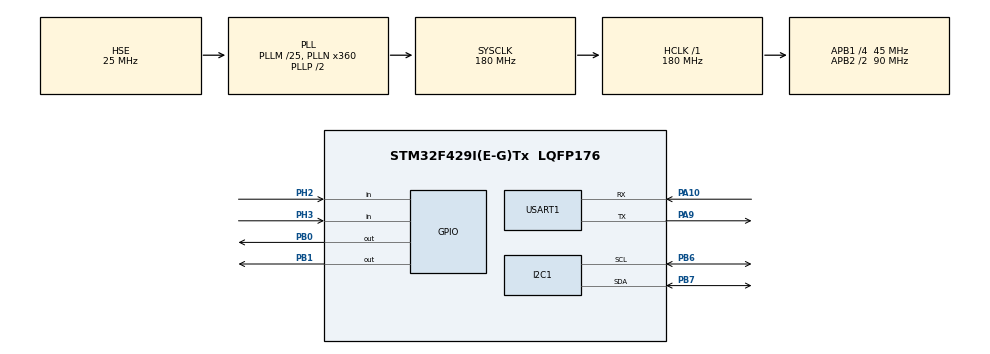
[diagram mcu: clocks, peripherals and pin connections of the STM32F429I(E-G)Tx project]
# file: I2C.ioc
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I2C1.OwnAddress=0x020
Mcu.Family=STM32F4
Mcu.Name=STM32F429I(E-G)Tx
Mcu.Package=LQFP176
NVIC.I2C1_ER_IRQn=true\:0\:0\:false\:false\:true\:true\:true
NVIC.I2C1_EV_IRQn=true\:0\:0\:false\:false\:true\:true\:true
NVIC.PriorityGroup=NVIC_PRIORITYGROUP_4
NVIC.USART1_IRQn=true\:0\:0\:false\:false\:true\:true\:true
PA10.Mode=Asynchronous
PA10.Signal=USART1_RX
PA9.Mode=Asynchronous
PA9.Signal=USART1_TX
PB0.GPIO_PuPd=GPIO_PULLUP
PB0.Signal=GPIO_Output
PB1.GPIO_PuPd=GPIO_PULLUP
PB1.Signal=GPIO_Output
PB6.Mode=I2C
PB6.Signal=I2C1_SCL
PB7.Mode=I2C
PB7.Signal=I2C1_SDA
PC14/OSC32_IN.Mode=LSE-External-Oscillator
PC14/OSC32_IN.Signal=RCC_OSC32_IN
PC15/OSC32_OUT.Mode=LSE-External-Oscillator
PC15/OSC32_OUT.Signal=RCC_OSC32_OUT
PH0/OSC_IN.Mode=HSE-External-Oscillator
PH0/OSC_IN.Signal=RCC_OSC_IN
PH1/OSC_OUT.Mode=HSE-External-Oscillator
PH1/OSC_OUT.Signal=RCC_OSC_OUT
PH2.GPIO_PuPd=GPIO_PULLUP
PH2.Signal=GPIO_Input
PH3.GPIO_PuPd=GPIO_PULLUP
PH3.Signal=GPIO_Input
ProjectManager.HeapSize=0x200
ProjectManager.StackSize=0x400
ProjectManager.TargetToolchain=MDK-ARM V5
RCC.48MHZClocksFreq_Value=90000000
RCC.AHBFreq_Value=180000000
RCC.APB1CLKDivider=RCC_HCLK_DIV4
RCC.APB1Freq_Value=45000000
RCC.APB1TimFreq_Value=90000000
RCC.APB2CLKDivider=RCC_HCLK_DIV2
RCC.APB2Freq_Value=90000000
RCC.APB2TimFreq_Value=180000000
RCC.CortexFreq_Value=180000000
RCC.HCLKFreq_Value=180000000
RCC.HSE_VALUE=25000000
RCC.HSI_VALUE=16000000
RCC.PLLM=25
RCC.PLLN=360
RCC.PLLSourceVirtual=RCC_PLLSOURCE_HSE
RCC.SYSCLKFreq_VALUE=180000000
RCC.SYSCLKSource=RCC_SYSCLKSOURCE_PLLCLK
RCC.VCOOutputFreq_Value=360000000
USART1.VirtualMode=VM_ASYNC
board=custom

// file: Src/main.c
/* USER CODE BEGIN Header */
/**
  ******************************************************************************
  * @file           : main.c
  * @brief          : Main program body
  ******************************************************************************
  * @attention
  *
  * <h2><center>&copy; Copyright (c) 2019 STMicroelectronics.
  * All rights reserved.</center></h2>
  *
  * This software component is licensed by ST under BSD 3-Clause license,
  * the "License"; You may not use this file except in compliance with the
  * License. You may obtain a copy of the License at:
  *                        opensource.org/licenses/BSD-3-Clause
  *
  ******************************************************************************
  */
/* USER CODE END Header */

#include "main.h"

/* USER CODE BEGIN Includes */
#define KEY0 1
#define KEY1 2
/* USER CODE END Includes */

I2C_HandleTypeDef hi2c1;

UART_HandleTypeDef huart1;

void SystemClock_Config(void);
static void MX_GPIO_Init(void);
static void MX_I2C1_Init(void);
static void MX_USART1_UART_Init(void);

/* USER CODE BEGIN 0 */
uint8_t scanKey()
{
	if(HAL_GPIO_ReadPin(GPIOH, GPIO_PIN_3) == 0)

		{
			return KEY0;

		}
		else if(HAL_GPIO_ReadPin(GPIOH, GPIO_PIN_2) == 0)
		{
			return KEY1;
		}
		else
		{
			return 0;
		}
}

/* USER CODE END 0 */

int main(void)
{

  /* MCU Configuration--------------------------------------------------------*/

  /* Reset of all peripherals, Initializes the Flash interface and the Systick. */
  HAL_Init();

  /* Configure the system clock */
  SystemClock_Config();

  /* Initialize all configured peripherals */
  MX_GPIO_Init();
  MX_I2C1_Init();
  MX_USART1_UART_Init();
  /* USER CODE BEGIN 2 */
	HAL_GPIO_WritePin(GPIOB, GPIO_PIN_1, GPIO_PIN_SET);
	HAL_GPIO_WritePin(GPIOB, GPIO_PIN_0, GPIO_PIN_SET);
  /* USER CODE END 2 */

  /* Infinite loop */
  while (1)
  {

    /* USER CODE BEGIN 3 */
		uint8_t data;

		uint8_t pKey = scanKey();
		switch(pKey)
		{
			case KEY0:
				data = 0xE3;
				break;
			case KEY1:
				data = 0xE5;
				break;
			default:
				continue;
		}

		if(HAL_I2C_Master_Transmit(&hi2c1, (uint16_t)(0x40<<1), &data, 1, 10000) != HAL_OK)
		{
			HAL_GPIO_WritePin(GPIOB, GPIO_PIN_1, GPIO_PIN_RESET);
			continue;
		}

		uint8_t recData[3] = {0, 0, 0};
		if(HAL_I2C_Master_Receive(&hi2c1, (uint16_t)(0x40<<1), recData, 3, 1000) != HAL_OK)
		{
			HAL_GPIO_WritePin(GPIOB, GPIO_PIN_1, GPIO_PIN_RESET);
			continue;
		}

		if(HAL_UART_Transmit(&huart1, recData, 3, 1000) != HAL_OK)
		{
			HAL_GPIO_WritePin(GPIOB, GPIO_PIN_1, GPIO_PIN_RESET);
			continue;
		}

		HAL_GPIO_TogglePin(GPIOB, GPIO_PIN_0);
		HAL_Delay(1000);
  }
  /* USER CODE END 3 */
}

void SystemClock_Config(void)
{
  RCC_OscInitTypeDef RCC_OscInitStruct = {0};
  RCC_ClkInitTypeDef RCC_ClkInitStruct = {0};

  /** Configure the main internal regulator output voltage
  */
  __HAL_RCC_PWR_CLK_ENABLE();
  __HAL_PWR_VOLTAGESCALING_CONFIG(PWR_REGULATOR_VOLTAGE_SCALE1);
  /** Initializes the CPU, AHB and APB busses clocks
  */
  RCC_OscInitStruct.OscillatorType = RCC_OSCILLATORTYPE_HSE;
  RCC_OscInitStruct.HSEState = RCC_HSE_ON;
  RCC_OscInitStruct.PLL.PLLState = RCC_PLL_ON;
  RCC_OscInitStruct.PLL.PLLSource = RCC_PLLSOURCE_HSE;
  RCC_OscInitStruct.PLL.PLLM = 25;
  RCC_OscInitStruct.PLL.PLLN = 360;
  RCC_OscInitStruct.PLL.PLLP = RCC_PLLP_DIV2;
  RCC_OscInitStruct.PLL.PLLQ = 4;
  if (HAL_RCC_OscConfig(&RCC_OscInitStruct) != HAL_OK)
  {
    Error_Handler();
  }
  /** Activate the Over-Drive mode
  */
  if (HAL_PWREx_EnableOverDrive() != HAL_OK)
  {
    Error_Handler();
  }
  /** Initializes the CPU, AHB and APB busses clocks
  */
  RCC_ClkInitStruct.ClockType = RCC_CLOCKTYPE_HCLK|RCC_CLOCKTYPE_SYSCLK
                              |RCC_CLOCKTYPE_PCLK1|RCC_CLOCKTYPE_PCLK2;
  RCC_ClkInitStruct.SYSCLKSource = RCC_SYSCLKSOURCE_PLLCLK;
  RCC_ClkInitStruct.AHBCLKDivider = RCC_SYSCLK_DIV1;
  RCC_ClkInitStruct.APB1CLKDivider = RCC_HCLK_DIV4;
  RCC_ClkInitStruct.APB2CLKDivider = RCC_HCLK_DIV2;

  if (HAL_RCC_ClockConfig(&RCC_ClkInitStruct, FLASH_LATENCY_5) != HAL_OK)
  {
    Error_Handler();
  }
}

static void MX_I2C1_Init(void)
{

  hi2c1.Instance = I2C1;
  hi2c1.Init.ClockSpeed = 100000;
  hi2c1.Init.DutyCycle = I2C_DUTYCYCLE_2;
  hi2c1.Init.OwnAddress1 = 64;
  hi2c1.Init.AddressingMode = I2C_ADDRESSINGMODE_7BIT;
  hi2c1.Init.DualAddressMode = I2C_DUALADDRESS_DISABLE;
  hi2c1.Init.OwnAddress2 = 0;
  hi2c1.Init.GeneralCallMode = I2C_GENERALCALL_DISABLE;
  hi2c1.Init.NoStretchMode = I2C_NOSTRETCH_DISABLE;
  if (HAL_I2C_Init(&hi2c1) != HAL_OK)
  {
    Error_Handler();
  }
  /** Configure Analogue filter
  */
  if (HAL_I2CEx_ConfigAnalogFilter(&hi2c1, I2C_ANALOGFILTER_ENABLE) != HAL_OK)
  {
    Error_Handler();
  }
  /** Configure Digital filter
  */
  if (HAL_I2CEx_ConfigDigitalFilter(&hi2c1, 0) != HAL_OK)
  {
    Error_Handler();
  }

}

static void MX_USART1_UART_Init(void)
{

  huart1.Instance = USART1;
  huart1.Init.BaudRate = 115200;
  huart1.Init.WordLength = UART_WORDLENGTH_8B;
  huart1.Init.StopBits = UART_STOPBITS_1;
  huart1.Init.Parity = UART_PARITY_NONE;
  huart1.Init.Mode = UART_MODE_TX_RX;
  huart1.Init.HwFlowCtl = UART_HWCONTROL_NONE;
  huart1.Init.OverSampling = UART_OVERSAMPLING_16;
  if (HAL_UART_Init(&huart1) != HAL_OK)
  {
    Error_Handler();
  }

}

static void MX_GPIO_Init(void)
{
  GPIO_InitTypeDef GPIO_InitStruct = {0};

  /* GPIO Ports Clock Enable */
  __HAL_RCC_GPIOC_CLK_ENABLE();
  __HAL_RCC_GPIOH_CLK_ENABLE();
  __HAL_RCC_GPIOB_CLK_ENABLE();
  __HAL_RCC_GPIOA_CLK_ENABLE();

  /*Configure GPIO pin Output Level */
  HAL_GPIO_WritePin(GPIOB, GPIO_PIN_0|GPIO_PIN_1, GPIO_PIN_RESET);

  /*Configure GPIO pins : PH2 PH3 */
  GPIO_InitStruct.Pin = GPIO_PIN_2|GPIO_PIN_3;
  GPIO_InitStruct.Mode = GPIO_MODE_INPUT;
  GPIO_InitStruct.Pull = GPIO_PULLUP;
  HAL_GPIO_Init(GPIOH, &GPIO_InitStruct);

  /*Configure GPIO pins : PB0 PB1 */
  GPIO_InitStruct.Pin = GPIO_PIN_0|GPIO_PIN_1;
  GPIO_InitStruct.Mode = GPIO_MODE_OUTPUT_PP;
  GPIO_InitStruct.Pull = GPIO_PULLUP;
  GPIO_InitStruct.Speed = GPIO_SPEED_FREQ_LOW;
  HAL_GPIO_Init(GPIOB, &GPIO_InitStruct);

}

void Error_Handler(void)
{
}

/************************ (C) COPYRIGHT STMicroelectronics *****END OF FILE****/
